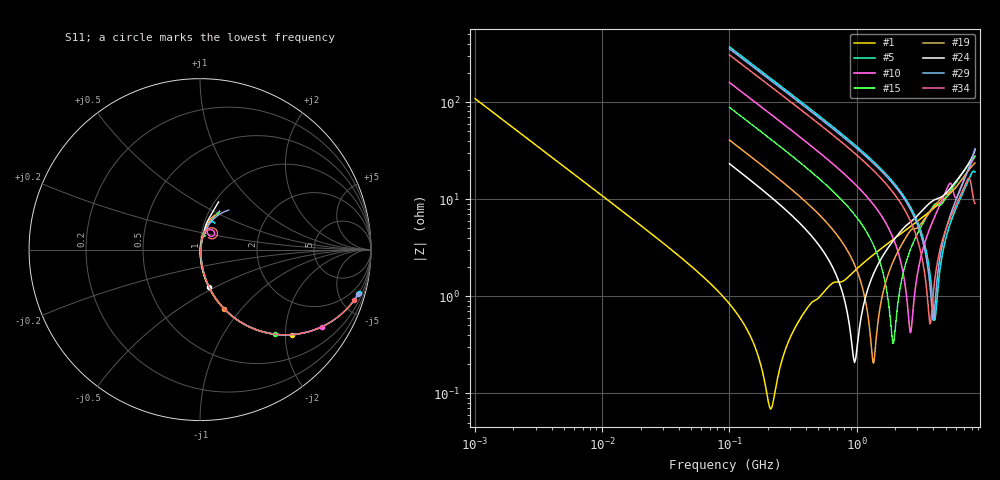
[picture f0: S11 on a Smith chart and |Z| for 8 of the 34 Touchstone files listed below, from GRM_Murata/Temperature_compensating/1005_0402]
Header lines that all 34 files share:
!These Parameters are Measured in Series Mode Connection
!Data Generated on Mar 30, 2021
!  o--ll--o
!Port1  Port2
!  o------o
!Operation Temp=25[degC], DC Bias Voltage=0[V]
# Hz S RI R 50
!Freq.(Hz) S11(Real) S11(Imag) S21(Real) S21(Imag) S12(Real) S12(Imag) S22(Real) S22(Imag)
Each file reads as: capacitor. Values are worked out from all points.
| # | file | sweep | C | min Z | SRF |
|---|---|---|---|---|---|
| 1 | GRM1551X1A152JA01.s2p | 1 MHz to 6 GHz | 1.47 nF | 68.7 mohm | 211.6 MHz |
| 2 | GRM1551X1A222JA01.s2p | 1 MHz to 6 GHz | 2.22 nF | 58.5 mohm | 161.6 MHz |
| 3 | GRM1551X1A272JA01.s2p | 1 MHz to 6 GHz | 2.61 nF | 54.3 mohm | 152.6 MHz |
| 4 | GRM1551X1A332JA01.s2p | 1 MHz to 6 GHz | 3.22 nF | 44.5 mohm | 142.3 MHz |
| 5 | GRM1552C1E4R3CA01.s2p | 100 MHz to 8.5 GHz | 4.3 pF | 567 mohm | 4.105 GHz |
| 6 | GRM1552C1E4R7CA01.s2p | 100 MHz to 8.5 GHz | 4.7 pF | 544 mohm | 3.939 GHz |
| 7 | GRM1552C1E5R1DA01.s2p | 100 MHz to 8.5 GHz | 5.1 pF | 524 mohm | 3.816 GHz |
| 8 | GRM1552C1E8R2DA01.s2p | 100 MHz to 8.5 GHz | 8.2 pF | 441 mohm | 3.1 GHz |
| 9 | GRM1552C1E9R1DA01.s2p | 100 MHz to 8.5 GHz | 9.1 pF | 439 mohm | 2.949 GHz |
| 10 | GRM1552C1E100JA01.s2p | 100 MHz to 8.5 GHz | 10 pF | 421 mohm | 2.649 GHz |
| 11 | GRM1552C1E101JA01.s2p | 100 MHz to 8.5 GHz | 100 pF | 165 mohm | 818.8 MHz |
| 12 | GRM1552C1E120JA01.s2p | 100 MHz to 8.5 GHz | 12 pF | 367 mohm | 2.532 GHz |
| 13 | GRM1552C1E121JA01.s2p | 100 MHz to 8.5 GHz | 120 pF | 176 mohm | 742.4 MHz |
| 14 | GRM1552C1E151JA01.s2p | 100 MHz to 8.5 GHz | 150 pF | 153 mohm | 656.3 MHz |
| 15 | GRM1552C1E180JA01.s2p | 100 MHz to 8.5 GHz | 18 pF | 326 mohm | 1.937 GHz |
| 16 | GRM1552C1E270JA01.s2p | 100 MHz to 8.5 GHz | 27 pF | 257 mohm | 1.6 GHz |
| 17 | GRM1552C1E271JA01.s2p | 100 MHz to 8.5 GHz | 270 pF | 128 mohm | 487.1 MHz |
| 18 | GRM1552C1E330JA01.s2p | 100 MHz to 8.5 GHz | 33 pF | 238 mohm | 1.454 GHz |
| 19 | GRM1552C1E390JA01.s2p | 100 MHz to 8.5 GHz | 39 pF | 205 mohm | 1.353 GHz |
| 20 | GRM1552C1E391JA01.s2p | 100 MHz to 8.5 GHz | 390 pF | 111 mohm | 421.7 MHz |
| 21 | GRM1552C1E470JA01.s2p | 100 MHz to 8.5 GHz | 47 pF | 188 mohm | 1.252 GHz |
| 22 | GRM1552C1E560JA01.s2p | 100 MHz to 8.5 GHz | 56 pF | 193 mohm | 1.135 GHz |
| 23 | GRM1552C1E561JA01.s2p | 100 MHz to 8.5 GHz | 559 pF | 74.3 mohm | 351.5 MHz |
| 24 | GRM1552C1E680JA01.s2p | 100 MHz to 8.5 GHz | 68.1 pF | 207 mohm | 963.8 MHz |
| 25 | GRM1552C1E681JA01.s2p | 100 MHz to 8.5 GHz | 678 pF | 76.7 mohm | 315 MHz |
| 26 | GRM1552C1H4R0BA01.s2p | 100 MHz to 8.5 GHz | 4 pF | 579 mohm | 4.265 GHz |
| 27 | GRM1552C1H4R1BA01.s2p | 100 MHz to 8.5 GHz | 4.1 pF | 574 mohm | 4.201 GHz |
| 28 | GRM1552C1H4R2BA01.s2p | 100 MHz to 8.5 GHz | 4.2 pF | 570 mohm | 4.152 GHz |
| 29 | GRM1552C1H4R5WA01.s2p | 100 MHz to 8.5 GHz | 4.5 pF | 564 mohm | 4.003 GHz |
| 30 | GRM1552C1H4R6CA01.s2p | 100 MHz to 8.5 GHz | 4.6 pF | 554 mohm | 3.963 GHz |
| 31 | GRM1552C1H4R8CA01.s2p | 100 MHz to 8.5 GHz | 4.8 pF | 541 mohm | 3.898 GHz |
| 32 | GRM1552C1H4R9WA01.s2p | 100 MHz to 8.5 GHz | 4.9 pF | 537 mohm | 3.858 GHz |
| 33 | GRM1552C1H5R0WA01.s2p | 100 MHz to 8.5 GHz | 5 pF | 530 mohm | 3.854 GHz |
| 34 | GRM1552C1H5R2CA01.s2p | 100 MHz to 8.5 GHz | 5.2 pF | 519 mohm | 3.78 GHz |
